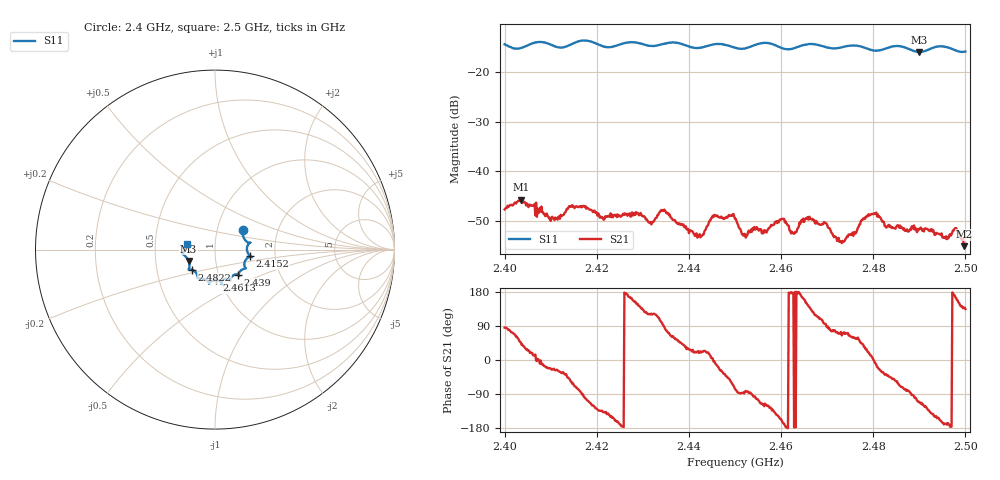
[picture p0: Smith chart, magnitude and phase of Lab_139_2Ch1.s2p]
# Hz S RI R 50
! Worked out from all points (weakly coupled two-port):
!   601 points, 2.4 GHz to 2.5 GHz, reference 50 ohm
!   highest |S21| = -45.75 dB at 2.4035 GHz (marker M1); lowest = -55.2 dB at 2.4997 GHz (marker M2)
!   lowest |S11| = -15.9 dB at 2.49 GHz (marker M3), VSWR 1.38, Z = 36.9 - j4.82 ohm
!   |S11| at or under -10 dB: start of sweep to end of sweep
!   S12 and S22 are empty: the file has one direction only
!   S11 on the Smith chart (normalised r, x): 2.4 GHz: 1.33, +0.31; 2.4152 GHz: 1.48, -0.11; 2.439 GHz: 1.24, -0.36; 2.4613 GHz: 0.96, -0.34; 2.4822 GHz: 0.76, -0.17; 2.5 GHz: 0.72, +0.05
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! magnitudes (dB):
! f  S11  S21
! 2.4 GHz  -14.3  -47.8
! 2.4035 GHz  -15.1  -45.8
! 2.4103 GHz  -14.5  -49.2
! 2.4152 GHz  -14.0  -47.5
! 2.4167 GHz  -13.6  -47.3
! 2.4333 GHz  -14.5  -48.9
! 2.439 GHz  -14.5  -51.4
! 2.4423 GHz  -15.1  -52.7
! 2.4453 GHz  -14.4  -49.3
! 2.45 GHz  -15.0  -49.6
! 2.4522 GHz  -15.2  -52.7
! 2.4613 GHz  -15.3  -50.8
! 2.4627 GHz  -15.2  -52.6
! 2.4667 GHz  -14.3  -49.8
! 2.4732 GHz  -14.9  -54.6
! 2.4792 GHz  -15.4  -49.0
! 2.4822 GHz  -15.4  -50.2
! 2.4833 GHz  -15.0  -50.9
! 2.49 GHz  -15.9  -51.6
! 2.4978 GHz  -15.6  -51.7
! 2.4997 GHz  -15.9  -55.2
! 2.5 GHz  -15.8  -55.1
